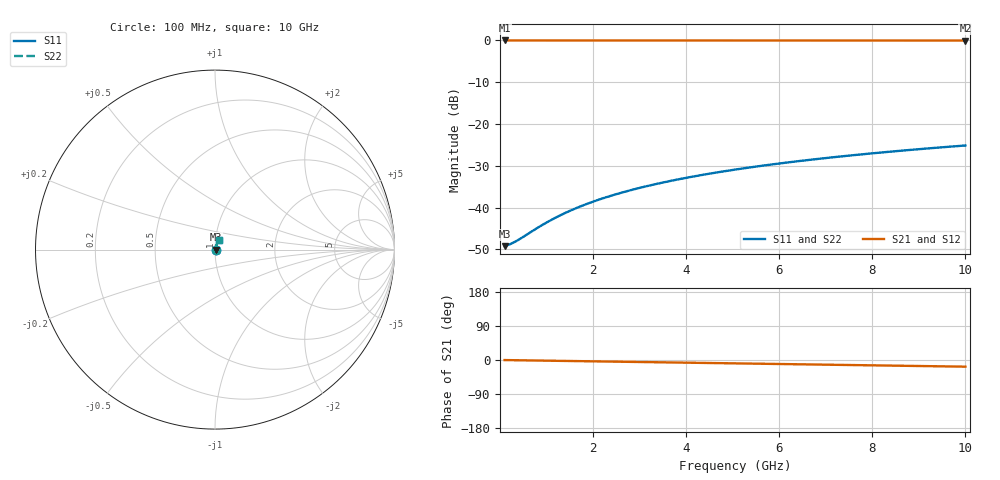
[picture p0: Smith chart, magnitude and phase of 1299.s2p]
# Hz S RI R 50.00
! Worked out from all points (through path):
!   100 points, 100 MHz to 10 GHz, reference 50 ohm
!   highest |S21| = -0.03 dB at 100 MHz (marker M1); lowest = 0.0 dB at 10 GHz (marker M2)
!   group delay of S21, straight-line fit = 4.89 ps
!   lowest |S11| = -49.2 dB at 100 MHz (marker M3), VSWR 1.01, Z = 50.3 + j0.0554 ohm
!   |S11| at or under -10 dB: start of sweep to end of sweep
!   |S22| runs from -49.2 to -25.2 dB; largest |S21 - S12| = 0
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1e8  0.00341 0.000551  0.9966 -0.00306  0.9966 -0.00306  0.00341 0.000551
2e8  0.00343 0.0011  0.9965 -0.00612  0.9965 -0.00612  0.00343 0.0011
3e8  0.00346 0.00165  0.9965 -0.00918  0.9965 -0.00918  0.00346 0.00165
4e8  0.00348 0.0022  0.9965 -0.0122  0.9965 -0.0122  0.00348 0.0022
9e8  0.00364 0.00495  0.9961 -0.0275  0.9961 -0.0275  0.00364 0.00495
1.2e9  0.00376 0.0066  0.9958 -0.0367  0.9958 -0.0367  0.00376 0.0066
1.5e9  0.00391 0.00824  0.9953 -0.0459  0.9953 -0.0459  0.00391 0.00824
1.8e9  0.00409 0.00988  0.9948 -0.0551  0.9948 -0.0551  0.00409 0.00988
2.1e9  0.0043 0.0115  0.9943 -0.0642  0.9943 -0.0642  0.0043 0.0115
2.5e9  0.00463 0.0137  0.9933 -0.0764  0.9933 -0.0764  0.00463 0.0137
2.9e9  0.00501 0.0159  0.9923 -0.0886  0.9923 -0.0886  0.00501 0.0159
3.4e9  0.00555 0.0186  0.9907 -0.1039  0.9907 -0.1039  0.00555 0.0186
3.8e9  0.00605 0.0207  0.9893 -0.116  0.9893 -0.116  0.00605 0.0207
4.2e9  0.00659 0.0228  0.9877 -0.1282  0.9877 -0.1282  0.00659 0.0228
4.6e9  0.00719 0.0249  0.986 -0.1403  0.986 -0.1403  0.00719 0.0249
5.1e9  0.00802 0.0276  0.9836 -0.1554  0.9836 -0.1554  0.00802 0.0276
5.9e9  0.0095 0.0317  0.9794 -0.1795  0.9794 -0.1795  0.0095 0.0317
6.7e9  0.0112 0.0357  0.9745 -0.2035  0.9745 -0.2035  0.0112 0.0357
7.5e9  0.0131 0.0397  0.969 -0.2274  0.969 -0.2274  0.0131 0.0397
8.4e9  0.0154 0.044  0.9621 -0.254  0.9621 -0.254  0.0154 0.044
9.2e9  0.0177 0.0478  0.9553 -0.2775  0.9553 -0.2775  0.0177 0.0478
1e10  0.0202 0.0514  0.9479 -0.3009  0.9479 -0.3009  0.0202 0.0514
